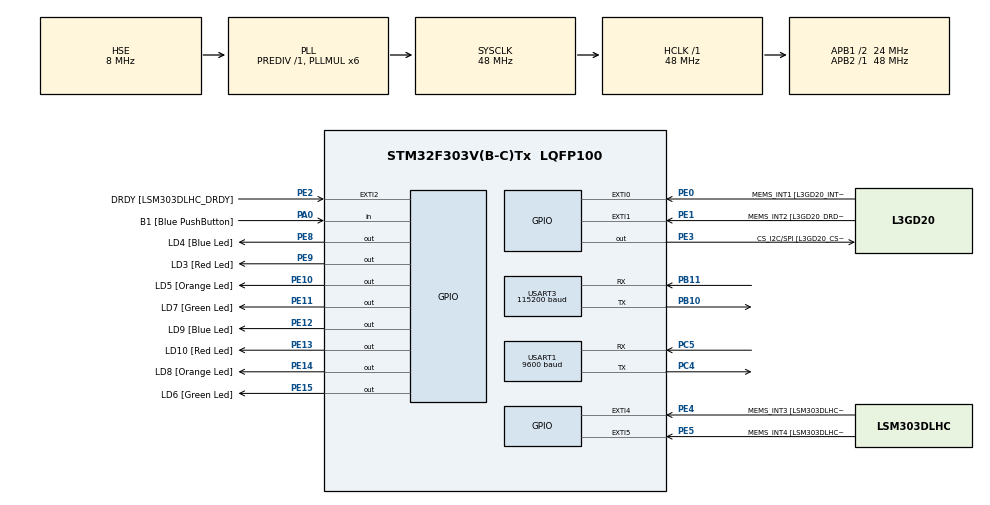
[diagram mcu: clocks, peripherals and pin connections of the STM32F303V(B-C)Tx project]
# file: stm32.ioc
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Mcu.Family=STM32F3
Mcu.Name=STM32F303V(B-C)Tx
Mcu.Package=LQFP100
NVIC.PriorityGroup=NVIC_PRIORITYGROUP_0
NVIC.USART1_IRQn=true\:0\:0\:false\:false\:true\:true\:true\:true
NVIC.USART3_IRQn=true\:0\:0\:false\:false\:true\:true\:true\:true
PA0.GPIO_Label=B1 [Blue PushButton]
PA0.Signal=GPIO_Input
PA13.GPIO_Label=SWDIO
PA13.Mode=Serial_Wire
PA13.Signal=SYS_JTMS-SWDIO
PA14.GPIO_Label=SWCLK
PA14.Mode=Serial_Wire
PA14.Signal=SYS_JTCK-SWCLK
PB10.Mode=Asynchronous
PB10.Signal=USART3_TX
PB11.Mode=Asynchronous
PB11.Signal=USART3_RX
PB3.GPIO_Label=SWO
PB3.Signal=SYS_JTDO-TRACESWO
PB6.GPIO_Label=I2C1_SCL [LSM303DLHC_SCL]
PB6.GPIO_Pu=GPIO_PULLUP
PB6.Signal=I2C1_SCL
PB7.GPIO_Label=I2C1_SDA [LSM303DLHC_SDA]
PB7.GPIO_Pu=GPIO_PULLUP
PB7.Signal=I2C1_SDA
PC14-OSC32_IN.GPIO_Label=OSC32_IN
PC14-OSC32_IN.Signal=RCC_OSC32_IN
PC15-OSC32_OUT.GPIO_Label=OSC32_OUT
PC15-OSC32_OUT.Signal=RCC_OSC32_OUT
PC4.Mode=Asynchronous
PC4.Signal=USART1_TX
PC5.Mode=Asynchronous
PC5.Signal=USART1_RX
PE0.GPIO_Label=MEMS_INT1 [L3GD20_INT1]
PE0.GPIO_ModeDefaultEXTI=GPIO_MODE_EVT_RISING
PE0.Signal=GPXTI0
PE1.GPIO_Label=MEMS_INT2 [L3GD20_DRDY/INT2]
PE1.GPIO_ModeDefaultEXTI=GPIO_MODE_EVT_RISING
PE1.Signal=GPXTI1
PE10.GPIO_Label=LD5 [Orange Led]
PE10.Signal=GPIO_Output
PE11.GPIO_Label=LD7 [Green Led]
PE11.Signal=GPIO_Output
PE12.GPIO_Label=LD9 [Blue Led]
PE12.Signal=GPIO_Output
PE13.GPIO_Label=LD10 [Red Led]
PE13.Signal=GPIO_Output
PE14.GPIO_Label=LD8 [Orange Led]
PE14.Signal=GPIO_Output
PE15.GPIO_Label=LD6 [Green Led]
PE15.Signal=GPIO_Output
PE2.GPIO_Label=DRDY [LSM303DLHC_DRDY]
PE2.GPIO_ModeDefaultEXTI=GPIO_MODE_EVT_RISING
PE2.Signal=GPXTI2
PE3.GPIO_Label=CS_I2C/SPI [L3GD20_CS_I2C/SPI]
PE3.Signal=GPIO_Output
PE4.GPIO_Label=MEMS_INT3 [LSM303DLHC_INT1]
PE4.GPIO_ModeDefaultEXTI=GPIO_MODE_EVT_RISING
PE4.Signal=GPXTI4
PE5.GPIO_Label=MEMS_INT4 [LSM303DLHC_INT2]
PE5.GPIO_ModeDefaultEXTI=GPIO_MODE_EVT_RISING
PE5.Signal=GPXTI5
PE8.GPIO_Label=LD4 [Blue Led]
PE8.Signal=GPIO_Output
PE9.GPIO_Label=LD3 [Red Led]
PE9.Signal=GPIO_Output
PF0-OSC_IN.GPIO_Label=OSC_IN
PF0-OSC_IN.Mode=HSE-External-Clock-Source
PF0-OSC_IN.Signal=RCC_OSC_IN
PF1-OSC_OUT.GPIO_Label=OSC_OUT
PF1-OSC_OUT.Signal=RCC_OSC_OUT
ProjectManager.HeapSize=0x200
ProjectManager.StackSize=0x400
ProjectManager.TargetToolchain=STM32CubeIDE
RCC.AHBFreq_Value=48000000
RCC.APB1CLKDivider=RCC_HCLK_DIV2
RCC.APB1Freq_Value=24000000
RCC.APB1TimFreq_Value=48000000
RCC.APB2Freq_Value=48000000
RCC.APB2TimFreq_Value=48000000
RCC.CortexFreq_Value=48000000
RCC.HCLKFreq_Value=48000000
RCC.HSE_VALUE=8000000
RCC.HSI_VALUE=8000000
RCC.LSE_VALUE=32768
RCC.PLLMUL=RCC_PLL_MUL6
RCC.PLLSourceVirtual=RCC_PLLSOURCE_HSE
RCC.SYSCLKFreq_VALUE=48000000
RCC.SYSCLKSourceVirtual=RCC_SYSCLKSOURCE_PLLCLK
RCC.USBFreq_Value=48000000
USART1.BaudRate=9600
USART1.VirtualMode-Asynchronous=VM_ASYNC
USART3.BaudRate=115200
USART3.VirtualMode-Asynchronous=VM_ASYNC
board=STM32F3DISCOVERY

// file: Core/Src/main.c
/* USER CODE BEGIN Header */
/**
  ******************************************************************************
  * @file           : main.c
  * @brief          : Main program body
  ******************************************************************************
  * @attention
  *
  * Copyright (c) 2025 STMicroelectronics.
  * All rights reserved.
  *
  * This software is licensed under terms that can be found in the LICENSE file
  * in the root directory of this software component.
  * If no LICENSE file comes with this software, it is provided AS-IS.
  *
  ******************************************************************************
  */
/* USER CODE END Header */
#include "main.h"

/* USER CODE BEGIN Includes */
#include <string.h>
#include <stdio.h>
/* USER CODE END Includes */

/* USER CODE BEGIN PD */
#define USART1_BUFFER_SIZE 6
#define USART3_BUFFER_SIZE 100
/* USER CODE END PD */

UART_HandleTypeDef huart1;
UART_HandleTypeDef huart3;

/* USER CODE BEGIN PV */
uint8_t USART1_RXBuffer[USART1_BUFFER_SIZE] = {0};
uint8_t USART1_TXBuffer[USART3_BUFFER_SIZE];
uint16_t USART1_TXidx = 0;

uint8_t USART3_RXBuffer[USART3_BUFFER_SIZE] = {0};
uint8_t USART3_RXByte;
uint8_t USART3_TXBuffer[USART1_BUFFER_SIZE];
uint16_t USART3_RXidx = 0;							// credentials are received 1 byte per time, so i need index
uint8_t USART3_RXBufferFull = 0;

uint8_t flag_on = 0;								// flag status on
uint8_t flag_command = 0;							// flag for received command
uint8_t flag_creds = 0;								// flag for received credentials

uint8_t flag_uart1_error = 0;						// flag for error on uart1 reception
uint8_t flag_uart3_error = 0;						// flag for error on uart3 reception
/* USER CODE END PV */

void SystemClock_Config(void);
static void MX_GPIO_Init(void);
static void MX_USART1_UART_Init(void);
static void MX_USART3_UART_Init(void);

int main(void)
{

  /* MCU Configuration--------------------------------------------------------*/

  /* Reset of all peripherals, Initializes the Flash interface and the Systick. */
  HAL_Init();

  /* Configure the system clock */
  SystemClock_Config();

  /* Initialize all configured peripherals */
  MX_GPIO_Init();
  MX_USART1_UART_Init();
  MX_USART3_UART_Init();
  /* USER CODE BEGIN 2 */
  HAL_Delay(100);

  // FLUSH DATA FROM USART1 AND USART3
  while (__HAL_UART_GET_FLAG(&huart1, UART_FLAG_RXNE)) {
      uint8_t dummy;
      HAL_UART_Receive(&huart1, &dummy, 1, 50);
  }

  while (__HAL_UART_GET_FLAG(&huart3, UART_FLAG_RXNE)) {
      uint8_t dummy;
      HAL_UART_Receive(&huart3, &dummy, 1, 50);
  }

  HAL_GPIO_WritePin(GPIOE, GPIO_PIN_12, GPIO_PIN_SET);					// keep blue led on (FNS)
  HAL_GPIO_WritePin(GPIOE, GPIO_PIN_11, GPIO_PIN_RESET);				// init green led off
  HAL_GPIO_WritePin(GPIOE, GPIO_PIN_9, GPIO_PIN_RESET);					// init red led off
  /* USER CODE END 2 */

  /* Infinite loop */
  while (1)
  {

    /* USER CODE BEGIN 3 */
	  if(flag_on == 1) {
		  HAL_GPIO_WritePin(GPIOE, GPIO_PIN_11, GPIO_PIN_SET);					// keep green led on
	  }
	  if(flag_on == 0) {
		  HAL_GPIO_WritePin(GPIOE, GPIO_PIN_11, GPIO_PIN_RESET);				// keep green led off
		  HAL_GPIO_WritePin(GPIOE, GPIO_PIN_9, GPIO_PIN_RESET);					// keep red led off
	  }

	  if(flag_command == 1) {
		  // SEND COMMAND VIA USART 3
		  flag_command = 0;
		  HAL_Delay(10);																		// to stabilize USART
		  memcpy(USART3_TXBuffer, USART1_RXBuffer, USART1_BUFFER_SIZE);							// copy received command in TX buffer
		  HAL_UART_Transmit_IT(&huart3, USART3_TXBuffer, USART1_BUFFER_SIZE);					// start transmission on interrupt
	  }

	  if(flag_creds == 1) {
			// SEND CREDENTIALS VIA USART 1
			flag_creds = 0;
			HAL_Delay(10);																		// to stabilize USART
			/*
			// OLD CREDS TRANSMIT
			USART1_TXidx = strlen((char*)USART3_RXBuffer);
			memcpy(USART1_TXBuffer, USART3_RXBuffer, USART1_TXidx);								// copy received command in TX buffer
			HAL_UART_Transmit_IT(&huart1, USART1_TXBuffer, USART1_TXidx);						// start transmission on interrupt
			*/
			sprintf((char*)USART1_TXBuffer, "<%s>\n", (char*)USART3_RXBuffer);
			USART1_TXidx = strlen((char*)USART1_TXBuffer);
			HAL_UART_Transmit_IT(&huart1, USART1_TXBuffer, USART1_TXidx);
	  }

	  if(flag_uart1_error == 1 || flag_uart3_error == 1) {
		  HAL_GPIO_WritePin(GPIOE, GPIO_PIN_9, GPIO_PIN_SET);				// keep red led on
	  }

  }

  /* USER CODE END 3 */
}

void SystemClock_Config(void)
{
  RCC_OscInitTypeDef RCC_OscInitStruct = {0};
  RCC_ClkInitTypeDef RCC_ClkInitStruct = {0};
  RCC_PeriphCLKInitTypeDef PeriphClkInit = {0};

  /** Initializes the RCC Oscillators according to the specified parameters
  * in the RCC_OscInitTypeDef structure.
  */
  RCC_OscInitStruct.OscillatorType = RCC_OSCILLATORTYPE_HSE;
  RCC_OscInitStruct.HSEState = RCC_HSE_BYPASS;
  RCC_OscInitStruct.HSEPredivValue = RCC_HSE_PREDIV_DIV1;
  RCC_OscInitStruct.HSIState = RCC_HSI_ON;
  RCC_OscInitStruct.PLL.PLLState = RCC_PLL_ON;
  RCC_OscInitStruct.PLL.PLLSource = RCC_PLLSOURCE_HSE;
  RCC_OscInitStruct.PLL.PLLMUL = RCC_PLL_MUL6;
  if (HAL_RCC_OscConfig(&RCC_OscInitStruct) != HAL_OK)
  {
    Error_Handler();
  }

  /** Initializes the CPU, AHB and APB buses clocks
  */
  RCC_ClkInitStruct.ClockType = RCC_CLOCKTYPE_HCLK|RCC_CLOCKTYPE_SYSCLK
                              |RCC_CLOCKTYPE_PCLK1|RCC_CLOCKTYPE_PCLK2;
  RCC_ClkInitStruct.SYSCLKSource = RCC_SYSCLKSOURCE_PLLCLK;
  RCC_ClkInitStruct.AHBCLKDivider = RCC_SYSCLK_DIV1;
  RCC_ClkInitStruct.APB1CLKDivider = RCC_HCLK_DIV2;
  RCC_ClkInitStruct.APB2CLKDivider = RCC_HCLK_DIV1;

  if (HAL_RCC_ClockConfig(&RCC_ClkInitStruct, FLASH_LATENCY_1) != HAL_OK)
  {
    Error_Handler();
  }
  PeriphClkInit.PeriphClockSelection = RCC_PERIPHCLK_USART1|RCC_PERIPHCLK_USART3;
  PeriphClkInit.Usart1ClockSelection = RCC_USART1CLKSOURCE_PCLK2;
  PeriphClkInit.Usart3ClockSelection = RCC_USART3CLKSOURCE_PCLK1;
  if (HAL_RCCEx_PeriphCLKConfig(&PeriphClkInit) != HAL_OK)
  {
    Error_Handler();
  }
}

static void MX_USART1_UART_Init(void)
{

  huart1.Instance = USART1;
  huart1.Init.BaudRate = 9600;
  huart1.Init.WordLength = UART_WORDLENGTH_8B;
  huart1.Init.StopBits = UART_STOPBITS_1;
  huart1.Init.Parity = UART_PARITY_NONE;
  huart1.Init.Mode = UART_MODE_TX_RX;
  huart1.Init.HwFlowCtl = UART_HWCONTROL_NONE;
  huart1.Init.OverSampling = UART_OVERSAMPLING_16;
  huart1.Init.OneBitSampling = UART_ONE_BIT_SAMPLE_DISABLE;
  huart1.AdvancedInit.AdvFeatureInit = UART_ADVFEATURE_NO_INIT;
  if (HAL_UART_Init(&huart1) != HAL_OK)
  {
    Error_Handler();
  }
  /* USER CODE BEGIN USART1_Init 2 */
  HAL_UART_Receive_IT(&huart1, USART1_RXBuffer, USART1_BUFFER_SIZE);
  /* USER CODE END USART1_Init 2 */

}

static void MX_USART3_UART_Init(void)
{

  huart3.Instance = USART3;
  huart3.Init.BaudRate = 115200;
  huart3.Init.WordLength = UART_WORDLENGTH_8B;
  huart3.Init.StopBits = UART_STOPBITS_1;
  huart3.Init.Parity = UART_PARITY_NONE;
  huart3.Init.Mode = UART_MODE_TX_RX;
  huart3.Init.HwFlowCtl = UART_HWCONTROL_NONE;
  huart3.Init.OverSampling = UART_OVERSAMPLING_16;
  huart3.Init.OneBitSampling = UART_ONE_BIT_SAMPLE_DISABLE;
  huart3.AdvancedInit.AdvFeatureInit = UART_ADVFEATURE_NO_INIT;
  if (HAL_UART_Init(&huart3) != HAL_OK)
  {
    Error_Handler();
  }
  /* USER CODE BEGIN USART3_Init 2 */
  HAL_UART_Receive_IT(&huart3, USART3_RXBuffer, 1);						// credentials are received 1 char per time
  /* USER CODE END USART3_Init 2 */

}

static void MX_GPIO_Init(void)
{
  GPIO_InitTypeDef GPIO_InitStruct = {0};

  /* GPIO Ports Clock Enable */
  __HAL_RCC_GPIOE_CLK_ENABLE();
  __HAL_RCC_GPIOC_CLK_ENABLE();
  __HAL_RCC_GPIOF_CLK_ENABLE();
  __HAL_RCC_GPIOA_CLK_ENABLE();
  __HAL_RCC_GPIOB_CLK_ENABLE();

  /*Configure GPIO pin Output Level */
  HAL_GPIO_WritePin(GPIOE, CS_I2C_SPI_Pin|LD4_Pin|LD3_Pin|LD5_Pin
                          |LD7_Pin|LD9_Pin|LD10_Pin|LD8_Pin
                          |LD6_Pin, GPIO_PIN_RESET);

  /*Configure GPIO pins : DRDY_Pin MEMS_INT3_Pin MEMS_INT4_Pin MEMS_INT1_Pin
                           MEMS_INT2_Pin */
  GPIO_InitStruct.Pin = DRDY_Pin|MEMS_INT3_Pin|MEMS_INT4_Pin|MEMS_INT1_Pin
                          |MEMS_INT2_Pin;
  GPIO_InitStruct.Mode = GPIO_MODE_EVT_RISING;
  GPIO_InitStruct.Pull = GPIO_NOPULL;
  HAL_GPIO_Init(GPIOE, &GPIO_InitStruct);

  /*Configure GPIO pins : CS_I2C_SPI_Pin LD4_Pin LD3_Pin LD5_Pin
                           LD7_Pin LD9_Pin LD10_Pin LD8_Pin
                           LD6_Pin */
  GPIO_InitStruct.Pin = CS_I2C_SPI_Pin|LD4_Pin|LD3_Pin|LD5_Pin
                          |LD7_Pin|LD9_Pin|LD10_Pin|LD8_Pin
                          |LD6_Pin;
  GPIO_InitStruct.Mode = GPIO_MODE_OUTPUT_PP;
  GPIO_InitStruct.Pull = GPIO_NOPULL;
  GPIO_InitStruct.Speed = GPIO_SPEED_FREQ_LOW;
  HAL_GPIO_Init(GPIOE, &GPIO_InitStruct);

  /*Configure GPIO pin : B1_Pin */
  GPIO_InitStruct.Pin = B1_Pin;
  GPIO_InitStruct.Mode = GPIO_MODE_INPUT;
  GPIO_InitStruct.Pull = GPIO_NOPULL;
  HAL_GPIO_Init(B1_GPIO_Port, &GPIO_InitStruct);

  /*Configure GPIO pins : I2C1_SCL_Pin I2C1_SDA_Pin */
  GPIO_InitStruct.Pin = I2C1_SCL_Pin|I2C1_SDA_Pin;
  GPIO_InitStruct.Mode = GPIO_MODE_AF_OD;
  GPIO_InitStruct.Pull = GPIO_PULLUP;
  GPIO_InitStruct.Speed = GPIO_SPEED_FREQ_HIGH;
  GPIO_InitStruct.Alternate = GPIO_AF4_I2C1;
  HAL_GPIO_Init(GPIOB, &GPIO_InitStruct);

}

/* USER CODE BEGIN 4 */
void HAL_UART_RxCpltCallback(UART_HandleTypeDef *huart)
{
    if (huart->Instance == USART1)		// received command
    {
    	if (strncmp((char*)USART1_RXBuffer, "start\n", USART1_BUFFER_SIZE) == 0)
        {
        	flag_on = 1;
        	flag_command = 1;
        }
    	if (strncmp((char*)USART1_RXBuffer, "stop_\n", USART1_BUFFER_SIZE) == 0)
        {
        	flag_on = 0;
        	flag_command = 1;
        }

    	flag_uart1_error = 0;
    	flag_uart3_error = 0;
        HAL_UART_Receive_IT(&huart1, USART1_RXBuffer, USART1_BUFFER_SIZE);					// reset reception
    }
    if (huart->Instance == USART3)		// received a credentials char
    {
        if (USART3_RXByte == '\n' || USART3_RXByte == '\r' || USART3_RXBufferFull == 1)
        {
            // all credentials char received or buffer full
        	USART3_RXBuffer[USART3_RXidx] = '\0';
        	flag_creds = 1;
        	USART3_RXidx = 0;
        	USART3_RXBufferFull = 0;
        }
        else
        {
        	USART3_RXBuffer[USART3_RXidx++] = USART3_RXByte;
            if (USART3_RXidx >= USART3_BUFFER_SIZE)
            {
            	USART3_RXBufferFull = 1;
            }
        }

        HAL_UART_Receive_IT(&huart3, &USART3_RXByte, 1);								// reset reception
    }
}

void HAL_UART_TxCpltCallback(UART_HandleTypeDef *huart)
{
	if (huart->Instance == USART1)
	{
		memset(USART1_TXBuffer, 0, USART1_TXidx);
		USART1_TXidx = 0;
	}
	if (huart->Instance == USART3)
	{
		memset(USART3_TXBuffer, 0, USART1_BUFFER_SIZE);
	}
}

void HAL_UART_ErrorCallback(UART_HandleTypeDef *huart)
{
	// in case of error reset reception
    if (huart->Instance == USART1)
    {
        flag_uart1_error = 1;
        HAL_UART_Receive_IT(&huart1, USART1_RXBuffer, USART1_BUFFER_SIZE);
    }

    if (huart->Instance == USART3)
    {
        flag_uart3_error = 1;
        HAL_UART_Receive_IT(&huart3, &USART3_RXByte, 1);
    }
}
/* USER CODE END 4 */

void Error_Handler(void)
{
  __disable_irq();
  while (1)
  {
  }
}
